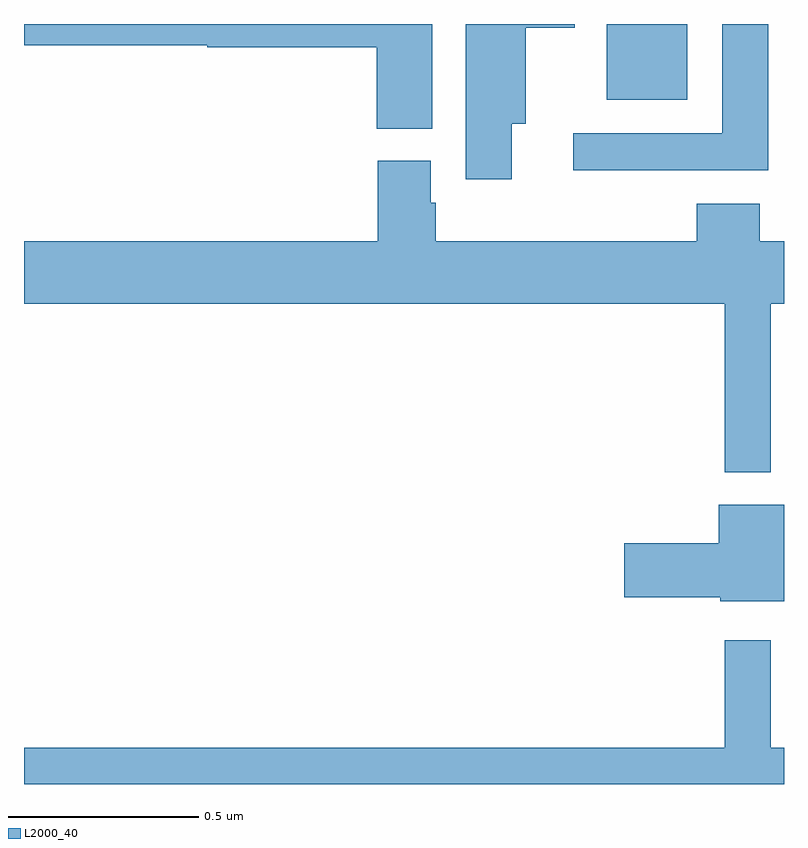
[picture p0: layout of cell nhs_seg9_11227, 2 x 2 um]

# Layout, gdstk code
import gdstk
lib = gdstk.Library(unit=1e-6, precision=1e-09)
def R(c, l, rs):  # rectangles x0, y0, x1, y1
    for r in rs: c.add(gdstk.rectangle(r[:2], r[2:], *l))
def P(c, l, *ps):  # polygons
    for p in ps: c.add(gdstk.Polygon(p, *l))
L2000_40 = (2000, 40)

nhs_seg9_11227 = lib.new_cell('nhs_seg9_11227')
R(nhs_seg9_11227, L2000_40, [(254.534,1186.301,254.746,1186.5)])
P(nhs_seg9_11227, L2000_40, [(254.284,1186.238),(254.32,1186.238),(254.32,1186.49),(254.449,1186.49),(254.449,1186.5),(254.162,1186.5),(254.162,1186.092),(254.284,1186.092)],
  [(254.958,1186.5),(254.837,1186.5),(254.837,1186.212),(254.445,1186.212),(254.445,1186.115),(254.958,1186.115)],
  [(254.074,1186.5),(253,1186.5),(253,1186.444),(253.482,1186.444),(253.482,1186.439),(253.928,1186.439),(253.928,1186.225),(254.074,1186.225)],
  [(254.844,1185.32),(254.965,1185.32),(254.965,1185.764),(255,1185.764),(255,1185.928),(254.936,1185.928),(254.936,1186.027),(254.771,1186.027),(254.771,1185.928),(254.084,1185.928),(254.084,1186.029),(254.071,1186.029),(254.071,1186.14),(253.931,1186.14),(253.931,1185.928),(253,1185.928),(253,1185.764),(254.844,1185.764)],
  [(255,1185.235),(254.828,1185.235),(254.828,1185.134),(254.58,1185.134),(254.58,1184.992),(254.832,1184.992),(254.832,1184.981),(255,1184.981)],
  [(255,1184.596),(254.965,1184.596),(254.965,1184.878),(254.844,1184.878),(254.844,1184.596),(253,1184.596),(253,1184.5),(255,1184.5)])

lib.write_gds('nhs_seg9_11227.gds')
